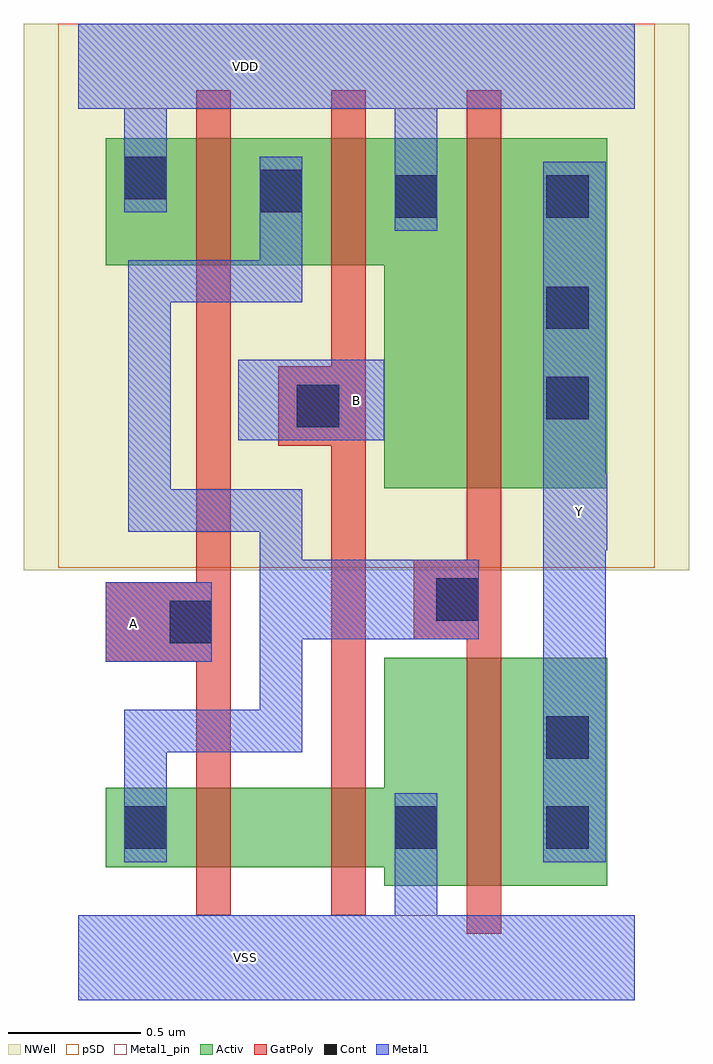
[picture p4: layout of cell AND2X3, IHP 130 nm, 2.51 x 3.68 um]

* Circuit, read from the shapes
.subckt AND2X3 A B VDD VSS Y
XM1 n1 A n2 VSUBS sg13_lv_nmos w=0.3u l=0.13u
XM2 VSS B n1 VSUBS sg13_lv_nmos w=0.3u l=0.13u
XM3 Y n2 VSS VSUBS sg13_lv_nmos w=0.86u l=0.13u
XM4 n2 A VDD n3 sg13_lv_pmos w=0.48u l=0.13u
XM5 VDD B n2 n3 sg13_lv_pmos w=0.48u l=0.13u
XM6 Y n2 VDD n3 sg13_lv_pmos w=1.32u l=0.13u
.ends

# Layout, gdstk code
import gdstk
lib = gdstk.Library(unit=1e-6, precision=1e-09)
def R(c, l, rs):  # rectangles x0, y0, x1, y1
    for r in rs: c.add(gdstk.rectangle(r[:2], r[2:], *l))
def P(c, l, *ps):  # polygons
    for p in ps: c.add(gdstk.Polygon(p, *l))
Activ = (1, 0)
GatPoly = (5, 0)
Cont = (6, 0)
Metal1 = (8, 0)
Metal1_pin = (8, 2)
pSD = (14, 0)
NWell = (31, 0)

and2x3 = lib.new_cell('AND2X3')
P(and2x3, Activ, [(1.155,1.77),(1.155,2.61),(0.105,2.61),(0.105,3.09),(1.995,3.09),(1.995,1.77)],
  [(1.155,0.27),(1.155,0.34),(0.105,0.34),(0.105,0.64),(1.155,0.64),(1.155,1.13),(1.995,1.13),(1.995,0.27)])
P(and2x3, GatPoly, [(0.955,0.16),(0.955,1.93),(0.755,1.93),(0.755,2.23),(0.955,2.23),(0.955,3.27),(1.085,3.27),(1.085,0.16)],
  [(0.445,0.16),(0.445,1.115),(0.105,1.115),(0.105,1.415),(0.445,1.415),(0.445,3.27),(0.575,3.27),(0.575,0.16)],
  [(1.465,0.09),(1.465,1.2),(1.265,1.2),(1.265,1.5),(1.465,1.5),(1.465,3.27),(1.595,3.27),(1.595,0.09)])
R(and2x3, Cont, [(0.175,0.41,0.335,0.57), (1.195,0.41,1.355,0.57), (1.765,0.41,1.925,0.57), (1.765,0.75,1.925,0.91), (0.345,1.185,0.505,1.345), (1.35,1.27,1.51,1.43), (0.825,2,0.985,2.16), (1.765,2.03,1.925,2.19), (1.765,2.37,1.925,2.53), (1.195,2.79,1.355,2.95), (1.765,2.79,1.925,2.95), (0.685,2.81,0.845,2.97), (0.175,2.86,0.335,3.02)])
R(and2x3, Metal1, [(0.105,1.115,0.505,1.415), (0.605,1.95,1.155,2.255)])
P(and2x3, Metal1, [(1.195,2.74),(1.195,3.2),(0.335,3.2),(0.335,2.81),(0.175,2.81),(0.175,3.2),(0,3.2),(0,3.52),(2.1,3.52),(2.1,3.2),(1.355,3.2),(1.355,2.74)],
  [(0,-0.16),(0,0.16),(1.195,0.16),(1.195,0.62),(1.355,0.62),(1.355,0.16),(2.1,0.16),(2.1,-0.16)],
  [(0.175,0.36),(0.175,0.935),(0.685,0.935),(0.685,1.605),(0.19,1.605),(0.19,2.63),(0.685,2.63),(0.685,3.02),(0.845,3.02),(0.845,2.47),(0.35,2.47),(0.35,1.765),(0.845,1.765),(0.845,1.5),(1.51,1.5),(1.51,1.2),(0.845,1.2),(0.845,0.775),(0.335,0.775),(0.335,0.36)],
  [(1.755,0.36),(1.755,3),(1.99,3),(1.99,1.825),(1.995,1.825),(1.995,1.535),(1.99,1.535),(1.99,0.36)])
R(and2x3, Metal1_pin, [(0,-0.16,2.1,0.16), (0.105,1.115,0.505,1.415), (0.605,1.95,1.155,2.255), (0,3.2,2.1,3.52)])
P(and2x3, Metal1_pin, [(1.755,0.36),(1.755,3),(1.99,3),(1.99,1.825),(1.995,1.825),(1.995,1.535),(1.99,1.535),(1.99,0.36)])
R(and2x3, pSD, [(-0.075,1.47,2.175,3.52)])
R(and2x3, NWell, [(-0.205,1.46,2.305,3.52)])
and2x3.add(gdstk.Label('Y', (1.89,1.68), layer=8, texttype=25))
and2x3.add(gdstk.Label('B', (1.05,2.1), layer=8, texttype=25))
and2x3.add(gdstk.Label('A', (0.21,1.26), layer=8, texttype=25))
and2x3.add(gdstk.Label('VDD', (0.63,3.36), layer=8, texttype=25))
and2x3.add(gdstk.Label('VSS', (0.63,0), layer=8, texttype=25))

lib.write_gds('AND2X3.gds')
